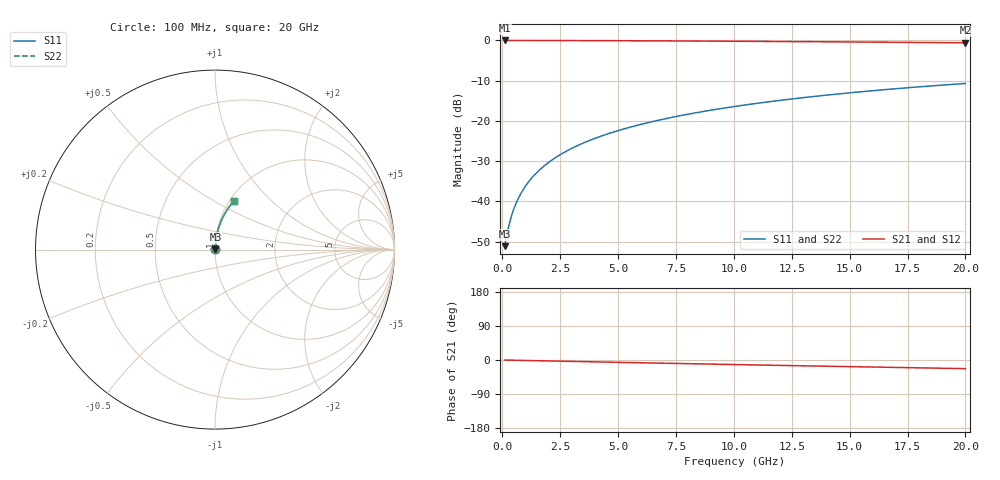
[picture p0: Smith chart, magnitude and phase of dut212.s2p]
! Touchstone file exported from HFSS 2024.1.0
!  File:  C:/UserFiles/LocalFiles/RDL_TSV_Batchsim/temp_RDL_bottom_212_1778700026.aedt
!  Generated:  03:23:15 AM May 14, 2026
!  Design:  RDL_bottom
!  Project:  temp_RDL_bottom_212_1778700026
!  Setup:  Setup1
!  Solution:  Sweep
! Variables:
!  dtsv = 10.80580581um
!  hbump = 3um
!  htsv = 85.19um
!  ldown = 262.64um
!  lrdl = 100um
!  p = 40
!  p1 = 44.8um
!  rhole = 1um
!  t = 450um
!  tdown = 3.94um
!  trdl = 3.915915916um
!  wdown = 10.76um
!  wrdl = 20um
# GHz S MA R 50.000000
! Terminal data exported
! Port[1] = RDL1_T1
! Port[2] = RDL1_T2
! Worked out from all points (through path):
!   200 points, 100 MHz to 20 GHz, reference 50 ohm
!   highest |S21| = -0.02 dB at 100 MHz (marker M1); lowest = -0.6 dB at 20 GHz (marker M2)
!   group delay of S21, straight-line fit = 3.16 ps
!   lowest |S11| = -51.1 dB at 100 MHz (marker M3), VSWR 1.01, Z = 50.2 + j0.157 ohm
!   |S11| at or under -10 dB: start of sweep to end of sweep
!   |S22| runs from -51.1 to -10.7 dB; largest |S21 - S12| = 3.3e-15
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0.1  0.00278 34.2  0.9977 -0.1  0.9977 -0.1  0.00278 34.2
! Gamma 0 0 0 0
! Port Impedance 50 0 50 0
0.2  0.00389 53.2  0.9977 -0.3  0.9977 -0.3  0.00389 53.2
0.3  0.005225 62.9  0.9976 -0.4  0.9976 -0.4  0.005225 62.9
0.4  0.006639 68.5  0.9976 -0.5  0.9976 -0.5  0.006639 68.5
0.5  0.008085 72.1  0.9975 -0.6  0.9975 -0.6  0.008085 72.1
0.6  0.009548 74.6  0.9975 -0.8  0.9975 -0.8  0.009548 74.6
0.8  0.0125 77.7  0.9973 -1.0  0.9973 -1.0  0.0125 77.7
1.1  0.01697 80.4  0.9971 -1.4  0.9971 -1.4  0.01697 80.4
1.5  0.02296 82.1  0.9968 -1.9  0.9968 -1.9  0.02296 82.1
1.8  0.02747 82.8  0.9965 -2.3  0.9965 -2.3  0.02747 82.8
2.1  0.03199 83.3  0.9962 -2.6  0.9962 -2.6  0.03199 83.3
2.7  0.04103 83.7  0.9954 -3.4  0.9954 -3.4  0.04103 83.7
3.5  0.0531 83.6  0.9941 -4.4  0.9941 -4.4  0.0531 83.6
4.2  0.06366 83.4  0.9928 -5.2  0.9928 -5.2  0.06366 83.4
5  0.07571 82.9  0.991 -6.2  0.991 -6.2  0.07571 82.9
5.9  0.08926 82.3  0.9887 -7.3  0.9887 -7.3  0.08926 82.3
6.8  0.1028 81.6  0.9862 -8.3  0.9862 -8.3  0.1028 81.6
8.3  0.1253 80.3  0.9815 -10.1  0.9815 -10.1  0.1253 80.3
10.1  0.152 78.6  0.9753 -12.1  0.9753 -12.1  0.152 78.6
13.4  0.2003 75.3  0.9626 -15.8  0.9626 -15.8  0.2003 75.3
16.7  0.247 71.9  0.9485 -19.4  0.9485 -19.4  0.247 71.9
20  0.2916 68.5  0.9332 -22.8  0.9332 -22.8  0.2916 68.5
